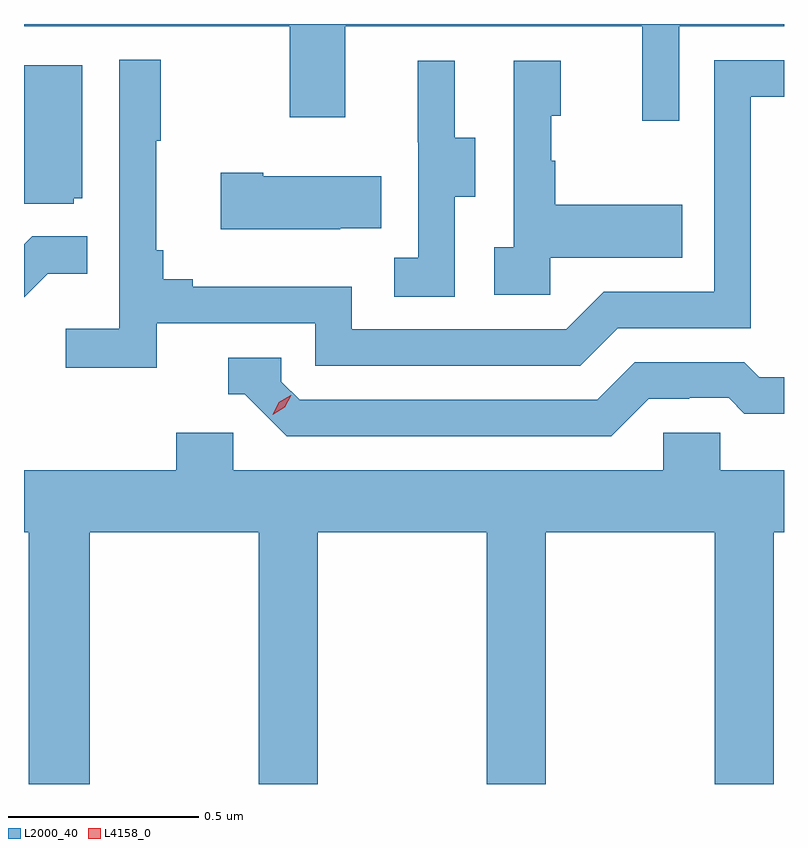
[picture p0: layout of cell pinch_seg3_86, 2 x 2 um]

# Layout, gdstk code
import gdstk
lib = gdstk.Library(unit=1e-6, precision=1e-09)
def P(c, l, *ps):  # polygons
    for p in ps: c.add(gdstk.Polygon(p, *l))
L2000_40 = (2000, 40)
L4158_0 = (4158, 0)

pinch_seg3_86 = lib.new_cell('pinch_seg3_86')
P(pinch_seg3_86, L2000_40, [(1036.425,723.56),(1036.701,723.56),(1036.701,723.566),(1034.701,723.566),(1034.701,723.56),(1035.4,723.56),(1035.4,723.321),(1035.547,723.321),(1035.547,723.56),(1036.328,723.56),(1036.328,723.312),(1036.425,723.312)],
  [(1035.05,722.778),(1035.468,722.778),(1035.468,722.667),(1036.165,722.667),(1036.264,722.766),(1036.614,722.766),(1036.614,723.375),(1036.701,723.375),(1036.701,723.471),(1036.518,723.471),(1036.518,722.862),(1036.227,722.862),(1036.128,722.763),(1035.564,722.763),(1035.564,722.875),(1035.145,722.875),(1035.145,722.894),(1035.068,722.894),(1035.068,722.971),(1035.049,722.971),(1035.049,723.259),(1035.061,723.259),(1035.061,723.472),(1034.952,723.472),(1034.952,722.764),(1034.811,722.764),(1034.811,722.662),(1035.05,722.662)],
  [(1036.086,722.951),(1036.433,722.951),(1036.433,723.091),(1036.099,723.091),(1036.099,723.206),(1036.089,723.206),(1036.089,723.324),(1036.114,723.324),(1036.114,723.469),(1035.99,723.469),(1035.99,722.978),(1035.939,722.978),(1035.939,722.853),(1036.086,722.853)],
  [(1035.834,723.112),(1035.889,723.112),(1035.889,723.267),(1035.835,723.267),(1035.835,723.469),(1035.737,723.469),(1035.737,723.255),(1035.738,723.255),(1035.738,722.951),(1035.675,722.951),(1035.675,722.848),(1035.834,722.848)],
  [(1034.832,723.108),(1034.854,723.108),(1034.854,723.457),(1034.701,723.457),(1034.701,723.093),(1034.832,723.093)],
  [(1035.533,723.029),(1035.641,723.029),(1035.641,723.166),(1035.331,723.166),(1035.331,723.174),(1035.219,723.174),(1035.219,723.026),(1035.533,723.026)],
  [(1034.763,722.909),(1034.867,722.909),(1034.867,723.008),(1034.723,723.008),(1034.701,722.986),(1034.701,722.847)],
  [(1036.345,722.58),(1036.452,722.58),(1036.452,722.583),(1036.555,722.583),(1036.597,722.541),(1036.701,722.541),(1036.701,722.637),(1036.636,722.637),(1036.597,722.676),(1036.308,722.676),(1036.209,722.577),(1035.426,722.577),(1035.378,722.625),(1035.378,722.688),(1035.239,722.688),(1035.239,722.592),(1035.282,722.592),(1035.393,722.481),(1036.246,722.481)],
  [(1034.874,722.228),(1035.319,722.228),(1035.319,721.566),(1035.474,721.566),(1035.474,722.228),(1035.919,722.228),(1035.919,721.566),(1036.074,721.566),(1036.074,722.228),(1036.519,722.228),(1036.519,721.566),(1036.674,721.566),(1036.674,722.228),(1036.701,722.228),(1036.701,722.392),(1036.533,722.392),(1036.533,722.49),(1036.383,722.49),(1036.383,722.392),(1035.252,722.392),(1035.252,722.49),(1035.101,722.49),(1035.101,722.392),(1034.701,722.392),(1034.701,722.228),(1034.714,722.228),(1034.714,721.566),(1034.874,721.566)])
P(pinch_seg3_86, L4158_0, [(1035.356,722.538),(1035.356,722.538),(1035.372,722.57),(1035.403,722.589),(1035.404,722.589),(1035.404,722.589),(1035.387,722.557),(1035.356,722.538)])

lib.write_gds('pinch_seg3_86.gds')
